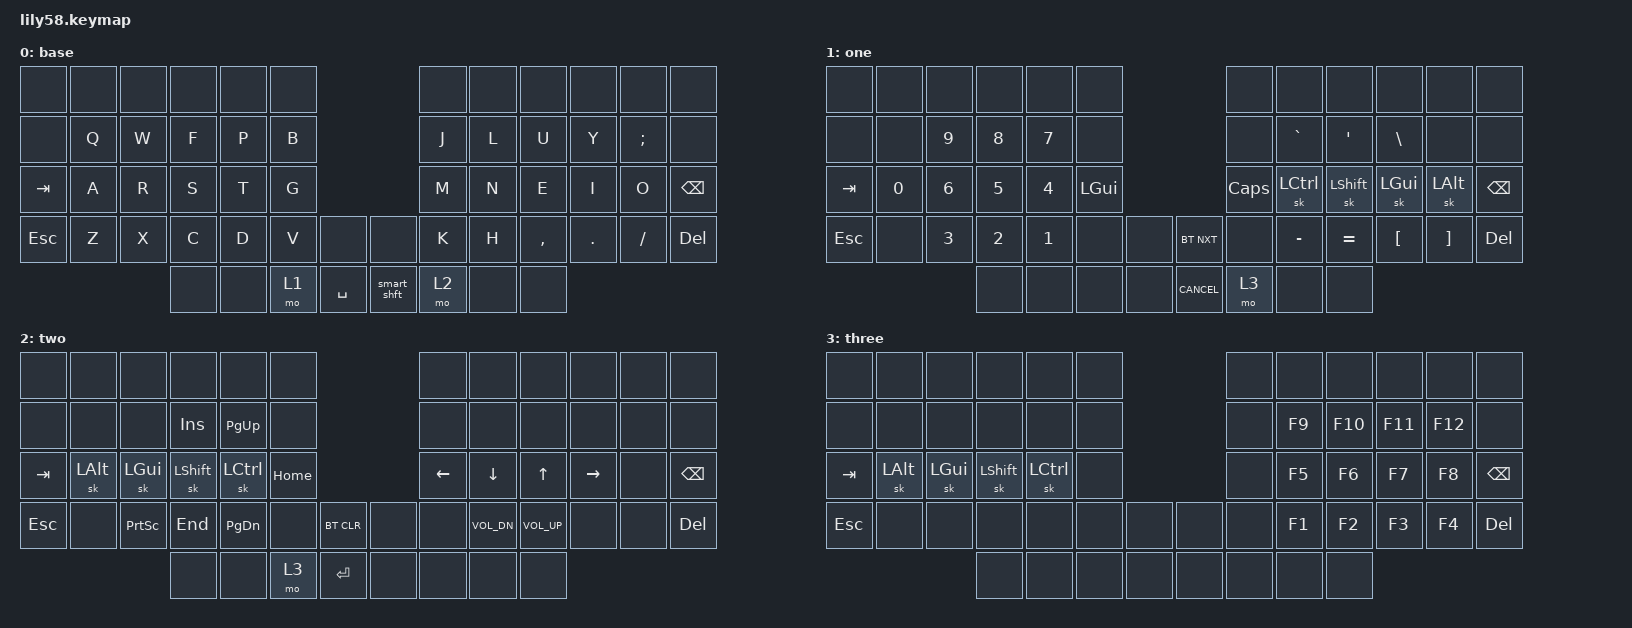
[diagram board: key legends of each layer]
/*
 * Copyright (c) 2020 The ZMK Contributors
 *
 * SPDX-License-Identifier: MIT
 */

#include <behaviors.dtsi>
#include <dt-bindings/zmk/bt.h>
#include <dt-bindings/zmk/keys.h>

#include "zmk-helpers/helper.h"
#include "zmk-helpers/key-labels/lily58.h"

#define ___ &none
// Specifically to show keys impossible to use (on other layers where thumb occupied)
#define XXX &none
// Stopping sticky action
#define CANCEL &kp K_CANCEL

&sk {
    quick-release;
};

// tap: sticky-shift | shift + tap/ double-tap: caps-word | hold: shift
ZMK_MOD_MORPH(smart_shft,
    bindings = <&sk LSHFT>, <&caps_word>;
    mods = <(MOD_LSFT)>;
)

ZMK_LAYER(base,
     // ╭─────────────┬─────────────┬─────────────┬─────────────┬─────────────┬─────────────╮                             ╭─────────────┬─────────────┬─────────────┬─────────────┬─────────────┬─────────────╮
          ___           ___           ___           ___           ___           ___                                         ___           ___           ___           ___           ___           ___
     // ├─────────────┼─────────────┼─────────────┼─────────────┼─────────────┼─────────────┤                             ├─────────────┼─────────────┼─────────────┼─────────────┼─────────────┼─────────────┤
          ___           &kp Q         &kp W         &kp F         &kp P         &kp B                                       &kp J         &kp L         &kp U         &kp Y         &kp SEMI      ___
     // ├─────────────┼─────────────┼─────────────┼─────────────┼─────────────┼─────────────┤                             ├─────────────┼─────────────┼─────────────┼─────────────┼─────────────┼─────────────┤
          &kp TAB       &kp A         &kp R         &kp S         &kp T         &kp G                                       &kp M         &kp N         &kp E         &kp I         &kp O         &kp BSPC
     // ├─────────────┼─────────────┼─────────────┼─────────────┼─────────────┼─────────────┼─────────────╮ ╭─────────────┼─────────────┼─────────────┼─────────────┼─────────────┼─────────────┼─────────────┤
          &kp ESC       &kp Z         &kp X         &kp C         &kp D         &kp V         ___             ___           &kp K         &kp H         &kp COMMA     &kp DOT       &kp FSLH      &kp DEL
     // ╰─────────────┴─────────────┴─────────────┼─────────────┼─────────────┼─────────────┼─────────────┤ ├─────────────┼─────────────┼─────────────┼─────────────┼─────────────┴─────────────┴─────────────╯
                                                    ___           ___           &mo 1         &kp SPACE       &smart_shft   &mo 2         ___           ___
     //                                           ╰─────────────┴─────────────┴─────────────┴─────────────╯ ╰─────────────┴─────────────┴─────────────┴─────────────╯
)

// N1 N2 N3 N4 N5 N6 N7 N8 N9 N0
// !  @  #  $  %  ^  &  *  (  )

// COMMA , <
// DOT   . >
// FSLH  / ?
// SEMI  ; :
// LBKT  [ {
// RBKT  ] }
// MINUS - _
// EQUAL = +
// GRAVE ` ~
// BSLH  \ |
// SQT   ' "

// Left
ZMK_LAYER(one,
     // ╭─────────────┬─────────────┬─────────────┬─────────────┬─────────────┬─────────────╮                             ╭─────────────┬─────────────┬─────────────┬─────────────┬─────────────┬─────────────╮
          ___           ___           ___           ___           ___           ___                                         ___           ___           ___           ___           ___           ___
     // ├─────────────┼─────────────┼─────────────┼─────────────┼─────────────┼─────────────┤                             ├─────────────┼─────────────┼─────────────┼─────────────┼─────────────┼─────────────┤
          ___           ___           &kp N9        &kp N8        &kp N7        ___                                         ___           &kp GRAVE     &kp SQT       &kp BSLH      ___           ___
     // ├─────────────┼─────────────┼─────────────┼─────────────┼─────────────┼─────────────┤                             ├─────────────┼─────────────┼─────────────┼─────────────┼─────────────┼─────────────┤
          &kp TAB       &kp N0        &kp N6        &kp N5        &kp N4        &kp LGUI                                    &kp CAPS      &sk LCTRL     &sk LSHFT     &sk LGUI      &sk LALT      &kp BSPC
     // ├─────────────┼─────────────┼─────────────┼─────────────┼─────────────┼─────────────┼─────────────╮ ╭─────────────┼─────────────┼─────────────┼─────────────┼─────────────┼─────────────┼─────────────┤
          &kp ESC       ___           &kp N3        &kp N2        &kp N1        ___           XXX             &bt BT_NXT    ___           &kp MINUS     &kp EQUAL     &kp LBKT      &kp RBKT      &kp DEL
     // ╰─────────────┴─────────────┴─────────────┼─────────────┼─────────────┼─────────────┼─────────────┤ ├─────────────┼─────────────┼─────────────┼─────────────┼─────────────┴─────────────┴─────────────╯
                                                    XXX           XXX           XXX           XXX             CANCEL        &mo 3         ___           ___
     //                                           ╰─────────────┴─────────────┴─────────────┴─────────────╯ ╰─────────────┴─────────────┴─────────────┴─────────────╯
)

// Right
ZMK_LAYER(two,
     // ╭─────────────┬─────────────┬─────────────┬─────────────┬─────────────┬─────────────╮                             ╭─────────────┬─────────────┬─────────────┬─────────────┬─────────────┬─────────────╮
          ___           ___           ___           ___           ___           ___                                         ___           ___           ___           ___           ___           ___
     // ├─────────────┼─────────────┼─────────────┼─────────────┼─────────────┼─────────────┤                             ├─────────────┼─────────────┼─────────────┼─────────────┼─────────────┼─────────────┤
          ___           ___           ___           &kp INS       &kp PG_UP     ___                                         ___           ___           ___           ___           ___           ___
     // ├─────────────┼─────────────┼─────────────┼─────────────┼─────────────┼─────────────┤                             ├─────────────┼─────────────┼─────────────┼─────────────┼─────────────┼─────────────┤
          &kp TAB       &sk LALT      &sk LGUI      &sk LSHFT     &sk LCTRL     &kp HOME                                    &kp LEFT      &kp DOWN      &kp UP        &kp RIGHT     ___           &kp BSPC
     // ├─────────────┼─────────────┼─────────────┼─────────────┼─────────────┼─────────────┼─────────────╮ ╭─────────────┼─────────────┼─────────────┼─────────────┼─────────────┼─────────────┼─────────────┤
          &kp ESC       ___           &kp PSCRN     &kp END       &kp PG_DN     ___           &bt BT_CLR      XXX           ___           &kp K_VOL_DN  &kp K_VOL_UP  ___           ___           &kp DEL
     // ╰─────────────┴─────────────┴─────────────┼─────────────┼─────────────┼─────────────┼─────────────┤ ├─────────────┼─────────────┼─────────────┼─────────────┼─────────────┴─────────────┴─────────────╯
                                                    ___           ___           &mo 3         &kp RET         XXX           XXX           XXX           XXX
     //                                           ╰─────────────┴─────────────┴─────────────┴─────────────╯ ╰─────────────┴─────────────┴─────────────┴─────────────╯
)

// Both
ZMK_LAYER(three,
     // ╭─────────────┬─────────────┬─────────────┬─────────────┬─────────────┬─────────────╮                             ╭─────────────┬─────────────┬─────────────┬─────────────┬─────────────┬─────────────╮
          ___           ___           ___           ___           ___           ___                                         ___           ___           ___           ___           ___           ___
     // ├─────────────┼─────────────┼─────────────┼─────────────┼─────────────┼─────────────┤                             ├─────────────┼─────────────┼─────────────┼─────────────┼─────────────┼─────────────┤
          ___           ___           ___           ___           ___           ___                                         ___           &kp F9        &kp F10       &kp F11       &kp F12       ___
     // ├─────────────┼─────────────┼─────────────┼─────────────┼─────────────┼─────────────┤                             ├─────────────┼─────────────┼─────────────┼─────────────┼─────────────┼─────────────┤
          &kp TAB       &sk LALT      &sk LGUI      &sk LSHFT     &sk LCTRL     ___                                         ___           &kp F5        &kp F6        &kp F7        &kp F8        &kp BSPC
     // ├─────────────┼─────────────┼─────────────┼─────────────┼─────────────┼─────────────┼─────────────╮ ╭─────────────┼─────────────┼─────────────┼─────────────┼─────────────┼─────────────┼─────────────┤
          &kp ESC       ___           ___           ___           ___           ___           XXX             XXX           ___           &kp F1        &kp F2        &kp F3        &kp F4        &kp DEL
     // ╰─────────────┴─────────────┴─────────────┼─────────────┼─────────────┼─────────────┼─────────────┤ ├─────────────┼─────────────┼─────────────┼─────────────┼─────────────┴─────────────┴─────────────╯
                                                    XXX           XXX           XXX           XXX             XXX           XXX           XXX           XXX
     //                                           ╰─────────────┴─────────────┴─────────────┴─────────────╯ ╰─────────────┴─────────────┴─────────────┴─────────────╯
)
